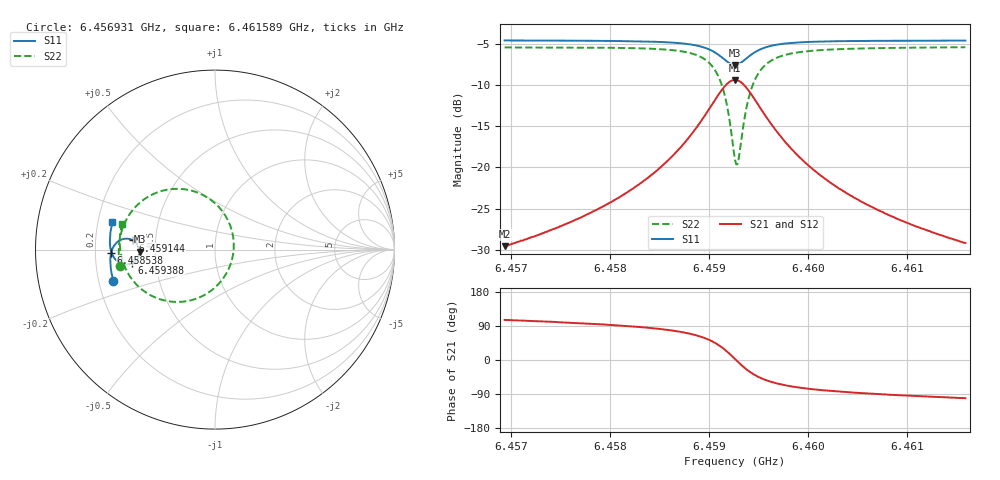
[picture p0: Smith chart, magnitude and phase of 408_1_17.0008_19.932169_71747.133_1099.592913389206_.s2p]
#  HZ  S  RI  R  50.00
! Rohde & Schwarz Vector Network Analyzer
! Rohde-Schwarz,ZNB20-2Port,1311601062101988,3.16
! Created: UTC 3/20/2024, 11:10:19 PM
! freq[Hz]  re:S11  im:S11  re:S21  im:S21  re:S12  im:S12  re:S22  im:S22
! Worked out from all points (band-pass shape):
!   401 points, 6.456931 GHz to 6.461589 GHz, reference 50 ohm
!   highest |S21| = -9.35 dB at 6.45926 GHz (marker M1); lowest = -29.6 dB at 6.456931 GHz (marker M2)
!   |S21| within 3 dB of the highest: 6.459028 GHz to 6.459493 GHz (465.7 kHz wide, 0.00721 % of centre)
!   lowest |S11| = -7.5 dB at 6.45926 GHz (marker M3), VSWR 2.45, Z = 20.4 - j0.548 ohm
!   |S11| at or under -10 dB: nowhere
!   |S22| runs from -19.6 to -5.4 dB; largest |S21 - S12| = 0.013
!   S11 on the Smith chart (normalised r, x): 6.456931 GHz: 0.26, -0.14; 6.458538 GHz: 0.27, -0.01; 6.459144 GHz: 0.37, +0.05; 6.459388 GHz: 0.37, -0.07; 6.461589 GHz: 0.26, +0.12
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6.4569313e9  -0.5657 -0.1757  -0.00905 0.0319  -0.00733 0.0319  -0.5298 -0.0888
6.4577115e9  -0.5802 -0.1078  -0.00597 0.0496  -0.00339 0.049  -0.5361 0.00159
6.4581541e9  -0.5834 -0.0636  0.000177 0.0695  0.0034 0.0682  -0.5283 0.0709
6.4584918e9  -0.5799 -0.0235  0.0134 0.0974  0.0174 0.0947  -0.5041 0.1461
6.4585383e9  -0.5783 -0.0171  0.0167 0.1028  0.0208 0.0999  -0.4978 0.1592
6.458748e9  -0.5666 0.0146  0.0425 0.1341  0.0466 0.1295  -0.4498 0.2305
6.4588993e9  -0.5456 0.041  0.0843 0.1642  0.0878 0.1578  -0.3728 0.2944
6.4590507e9  -0.5 0.0607  0.175 0.1833  0.176 0.176  -0.2072 0.3387
6.4591439e9  -0.4559 0.0509  0.264 0.153  0.2642 0.1472  -0.0428 0.2903
6.4591905e9  -0.435 0.0324  0.3072 0.111  0.3084 0.1057  0.0395 0.2157
6.4592603e9  -0.4201 -0.0111  0.3404 0.0155  0.344 0.00863  0.1045 0.0389
6.459272e9  -0.4206 -0.0189  0.3404 -0.00211  0.3441 -0.00949  0.1043 0.00585
6.4592953e9  -0.4241 -0.0344  0.335 -0.0361  0.3388 -0.0453  0.0939 -0.0592
6.4593419e9  -0.4393 -0.06  0.3072 -0.0956  0.3093 -0.1072  0.0378 -0.1709
6.4593884e9  -0.4612 -0.0762  0.2658 -0.1363  0.2649 -0.1492  -0.0455 -0.2453
6.4594816e9  -0.5039 -0.0829  0.1823 -0.1674  0.1763 -0.1787  -0.2118 -0.2915
6.459633e9  -0.5473 -0.0623  0.0956 -0.1541  0.0872 -0.1603  -0.3774 -0.2436
6.459796e9  -0.5686 -0.0348  0.051 -0.1267  0.0437 -0.1295  -0.457 -0.1727
6.4600406e9  -0.5813 0.000764  0.0223 -0.0956  0.0165 -0.0963  -0.5047 -0.0913
6.4603899e9  -0.5857 0.0419  0.00626 -0.0693  0.00227 -0.0689  -0.5262 -0.0128
6.4608208e9  -0.5836 0.085  -0.00151 -0.0511  -0.00412 -0.0503  -0.5304 0.0552
6.4615894e9  -0.5712 0.1528  -0.00649 -0.0341  -0.0081 -0.0331  -0.5189 0.1449
